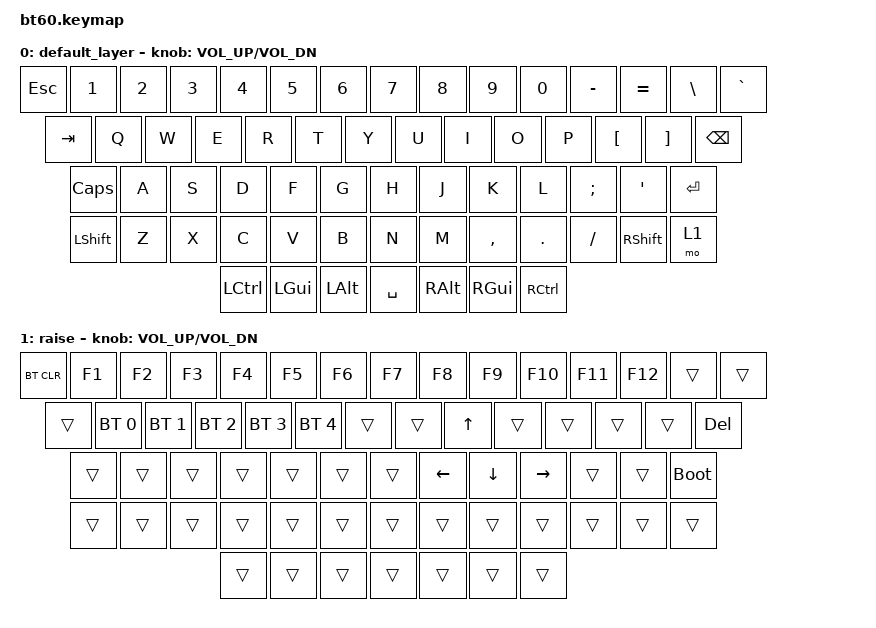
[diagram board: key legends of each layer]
#include <behaviors.dtsi>
#include <dt-bindings/zmk/keys.h>
#include <dt-bindings/zmk/bt.h>

/ {
	keymap {
		compatible = "zmk,keymap";

		default_layer {
				// ------------------------------------------------------------------------------------------
				// | ESC |  1  |  2  |  3  |  4  |  5  |  6  |  7  |  8  |  9  |  0  |  -  |  =  |   BKSP
				// | TAB  |  Q  |  W  |  E  |  R  |  T  |  Y  |  U  |  I  |  O  |  P  |  [  |  ]  |   |
				// | CAPS  |  A  |  S  |  D  |  F  |  G  |  H  |  J  |  K  |  L  |  ;  |  '  |     ENTER
				// |  SHIFT    |  Z  |  X  |  C  |  V  |  B  |  N  |  M  |  ,  |  .  | /   |      SHIFT
				// |  CTL  |  WIN  |  ALT  |            SPACE               | ALT | 1    |  MENU    |  CTRL
				// ------------------------------------------------------------------------------------------
			bindings = <

				&kp ESC &kp N1 &kp N2 &kp N3 &kp N4 &kp N5 &kp N6 &kp N7 &kp N8  &kp N9 &kp N0  &kp MINUS  &kp EQUAL  &kp BSLH  &kp GRAVE
				&kp TAB  &kp Q  &kp W  &kp E  &kp R  &kp T  &kp Y  &kp U  &kp I  &kp O  &kp P  &kp LBKT  &kp RBKT  &kp BSPC
				&kp CAPS  &kp A  &kp S  &kp D  &kp F  &kp G  &kp H  &kp J  &kp K  &kp L  &kp SEMI &kp SQT  &kp RET
				&kp LSHFT  &kp Z  &kp X  &kp C  &kp V  &kp B  &kp N  &kp M  &kp COMMA  &kp DOT  &kp FSLH  &kp RSHFT  &mo 1
				&kp LCTRL &kp LGUI &kp LALT            &kp SPACE                          &kp RALT  &kp RGUI &kp RCTRL
			>;
			sensor-bindings = <&inc_dec_kp C_VOL_UP C_VOL_DN>;
		};
		raise {
			bindings = <
				&bt BT_CLR  &kp F1  &kp F2  &kp F3  &kp F4  &kp F5  &kp F6  &kp F7  &kp F8  &kp F9  &kp F10  &kp F11  &kp F12  &trans  &trans
				&trans  &bt BT_SEL 0  &bt BT_SEL 1  &bt BT_SEL 2  &bt BT_SEL 3  &bt BT_SEL 4  &trans  &trans  &kp UP  &trans  &trans  &trans  &trans  &kp DEL
				&trans  &trans  &trans  &trans  &trans  &trans  &trans  &kp LEFT  &kp DOWN  &kp RIGHT  &trans  &trans  &bootloader
				&trans  &trans  &trans  &trans  &trans  &trans  &trans  &trans  &trans  &trans  &trans  &trans  &trans
				&trans  &trans  &trans              &trans                             &trans  &trans  &trans
			>;
			sensor-bindings = <&inc_dec_kp C_VOL_UP C_VOL_DN>;
		};
	};
};
